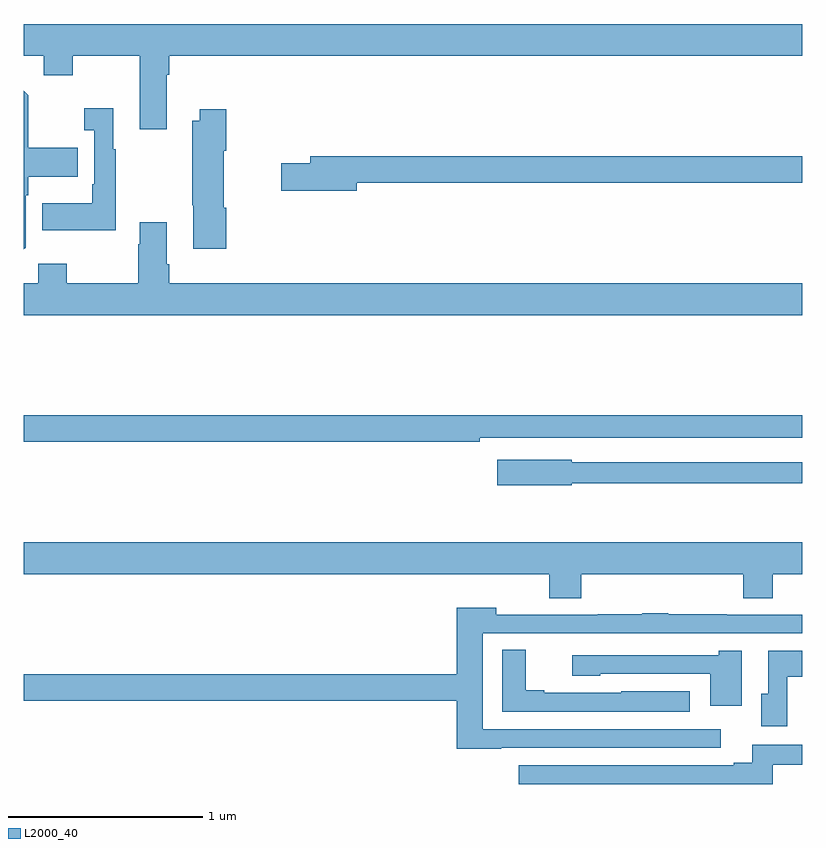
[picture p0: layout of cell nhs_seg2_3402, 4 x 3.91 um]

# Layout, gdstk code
import gdstk
lib = gdstk.Library(unit=1e-6, precision=1e-09)
def P(c, l, *ps):  # polygons
    for p in ps: c.add(gdstk.Polygon(p, *l))
L2000_40 = (2000, 40)

nhs_seg2_3402 = lib.new_cell('nhs_seg2_3402')
P(nhs_seg2_3402, L2000_40, [(289.735,663.524),(289.748,663.524),(289.748,663.62),(293,663.62),(293,663.784),(289,663.784),(289,663.62),(289.103,663.62),(289.103,663.521),(289.251,663.521),(289.251,663.62),(289.595,663.62),(289.595,663.243),(289.735,663.243)],
  [(289.008,662.634),(289.008,662.903),(289.021,662.903),(289.021,662.999),(289.277,662.999),(289.277,663.147),(289.021,663.147),(289.021,663.419),(289,663.44),(289,662.626)],
  [(289.471,663.139),(289.459,663.139),(289.459,663.352),(289.311,663.352),(289.311,663.239),(289.362,663.239),(289.362,662.959),(289.35,662.959),(289.35,662.863),(289.093,662.863),(289.093,662.723),(289.471,662.723)],
  [(290.039,662.84),(290.026,662.84),(290.026,663.133),(290.039,663.133),(290.039,663.346),(289.904,663.346),(289.904,663.286),(289.864,663.286),(289.864,662.851),(289.871,662.851),(289.871,662.628),(290.039,662.628)],
  [(290.71,662.968),(293,662.968),(293,663.104),(290.471,663.104),(290.471,663.068),(290.322,663.068),(290.322,662.926),(290.71,662.926)],
  [(293,662.452),(289.748,662.452),(289.748,662.548),(289.735,662.548),(289.735,662.764),(289.595,662.764),(289.595,662.651),(289.588,662.651),(289.588,662.452),(289.221,662.452),(289.221,662.551),(289.074,662.551),(289.074,662.452),(289,662.452),(289,662.288),(293,662.288)],
  [(291.344,661.656),(293,661.656),(293,661.772),(289,661.772),(289,661.636),(291.344,661.636)],
  [(291.816,661.422),(293,661.422),(293,661.53),(291.816,661.53),(291.816,661.543),(291.432,661.543),(291.432,661.414),(291.816,661.414)],
  [(291.866,660.956),(292.697,660.956),(292.697,660.832),(292.849,660.832),(292.849,660.956),(293,660.956),(293,661.12),(289,661.12),(289,660.956),(291.701,660.956),(291.701,660.832),(291.866,660.832)],
  [(291.454,660.063),(292.582,660.063),(292.582,660.159),(291.358,660.159),(291.358,660.651),(293,660.651),(293,660.747),(292.613,660.747),(292.613,660.749),(292.311,660.749),(292.311,660.754),(292.179,660.754),(292.179,660.749),(291.949,660.749),(291.949,660.747),(291.427,660.747),(291.427,660.784),(291.224,660.784),(291.224,660.44),(289,660.44),(289,660.304),(291.224,660.304),(291.224,660.058),(291.454,660.058)],
  [(292.423,660.355),(292.071,660.355),(292.071,660.345),(291.676,660.345),(291.676,660.358),(291.58,660.358),(291.58,660.566),(291.458,660.566),(291.458,660.249),(292.171,660.249),(292.171,660.248),(292.423,660.248)],
  [(292.69,660.562),(292.572,660.562),(292.572,660.54),(291.819,660.54),(291.819,660.434),(291.963,660.434),(291.963,660.444),(292.529,660.444),(292.529,660.278),(292.69,660.278)],
  [(292.923,660.428),(293,660.428),(293,660.562),(292.826,660.562),(292.826,660.34),(292.79,660.34),(292.79,660.174),(292.923,660.174)],
  [(292.849,659.975),(293,659.975),(293,660.079),(292.745,660.079),(292.745,659.986),(292.649,659.986),(292.649,659.973),(291.543,659.973),(291.543,659.877),(292.849,659.877)])

lib.write_gds('nhs_seg2_3402.gds')
